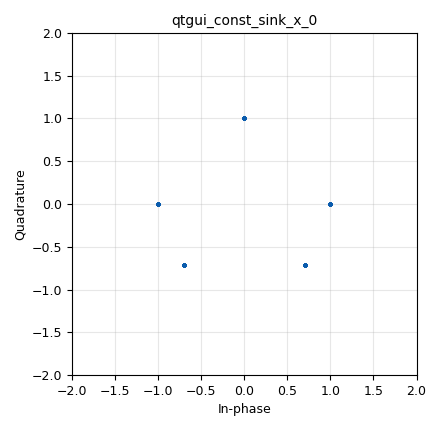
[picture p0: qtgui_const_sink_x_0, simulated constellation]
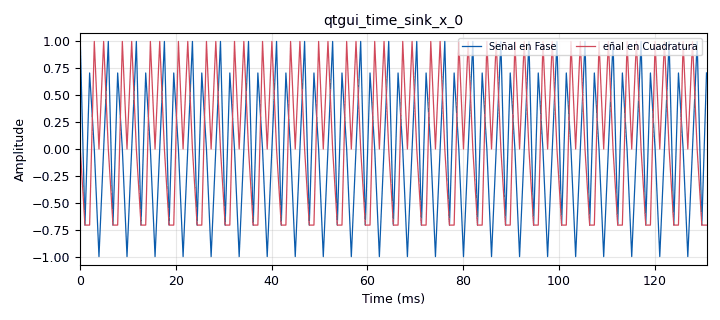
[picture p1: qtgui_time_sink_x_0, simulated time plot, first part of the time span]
options:
  parameters:
    generate_options: qt_gui
    id: lab5
    output_language: python
    title: Not titled yet
  states: {}

blocks:
- name: M
  id: variable
  parameters:
    value: len(tabla_de_verdad)
  states: {}
- name: Rs
  id: variable
  parameters:
    value: '1024'
  states: {}
- name: bps
  id: variable
  parameters:
    value: math.log(M,2)
  states: {}
- name: tabla_de_verdad
  id: variable
  parameters:
    value: '[-0.707-0.707j, -1+0j, 0+1j, -0.707+0.707j, 0-1j, 0.707-0.707j,0.707+0.707j, 1+0j]'
  states: {}
- name: blocks_vector_source_x_0
  id: blocks_vector_source_x
  parameters:
    repeat: 'True'
    type: int
    vector: (5,2,1,2,7,0)
  states: {}
- name: digital_chunks_to_symbols_xx_0
  id: digital_chunks_to_symbols_xx
  parameters:
    dimension: '1'
    in_type: int
    out_type: complex
    symbol_table: tabla_de_verdad
  states: {}
- name: import_0
  id: import
  parameters:
    imports: import math
  states: {}
- name: qtgui_const_sink_x_0
  id: qtgui_const_sink_x
  parameters:
    size: '1024'
    type: complex
  states: {}
- name: qtgui_time_sink_x_0
  id: qtgui_time_sink_x
  parameters:
    label1: Señal en Fase
    label2: eñal en Cuadratura
    size: '1024'
    srate: Rs
    type: complex
  states: {}

connections:
- [blocks_vector_source_x_0, '0', digital_chunks_to_symbols_xx_0, '0']
- [digital_chunks_to_symbols_xx_0, '0', qtgui_const_sink_x_0, '0']
- [digital_chunks_to_symbols_xx_0, '0', qtgui_time_sink_x_0, '0']

metadata:
  file_format: 1
